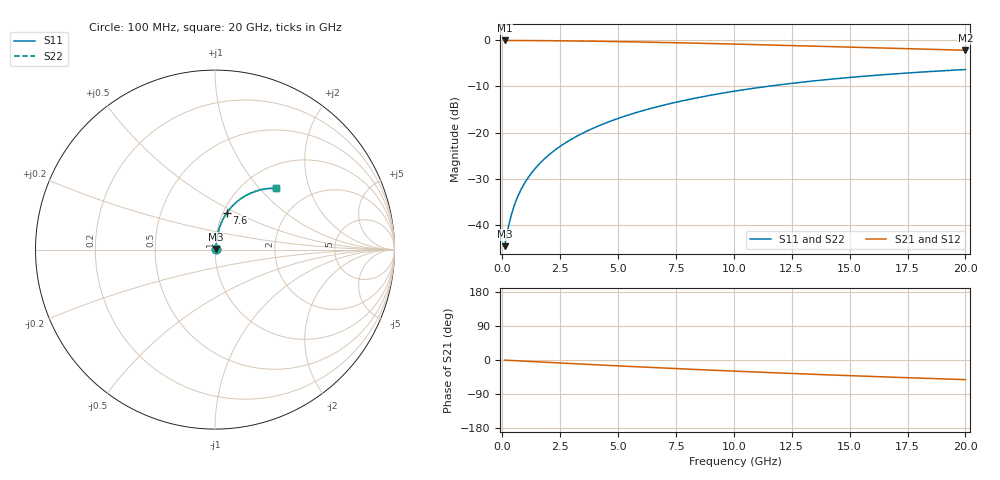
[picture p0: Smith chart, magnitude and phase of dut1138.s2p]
! Touchstone file exported from HFSS 2024.1.0
!  File:  C:/UserFiles/LocalFiles/RDL_TSV_Batchsim/temp_RDL_top_1138_1780047696.aedt
!  Generated:  05:44:01 PM May 29, 2026
!  Design:  RDL_top
!  Project:  temp_RDL_top_1138_1780047696
!  Setup:  Setup1
!  Solution:  Sweep
! Variables:
!  dtsv = 10.80580581um
!  hbump = 3um
!  htsv = 95.48um
!  ldown = 100um
!  lrdl = 696.41um
!  p = 40
!  p1 = 56.03um
!  rhole = 1um
!  t = 450um
!  tdown = 3.915915916um
!  trdl = 2.61um
!  wdown = 15.38538539um
!  wrdl = 19.51um
# GHz S MA R 50.000000
! Terminal data exported
! Port[1] = Box2_T1
! Port[2] = Box2_T2
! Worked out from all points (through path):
!   200 points, 100 MHz to 20 GHz, reference 50 ohm
!   highest |S21| = -0.04 dB at 100 MHz (marker M1); lowest = -2.2 dB at 20 GHz (marker M2)
!   group delay of S21, straight-line fit = 7.18 ps
!   lowest |S11| = -44.6 dB at 100 MHz (marker M3), VSWR 1.01, Z = 50.5 + j0.306 ohm
!   |S11| at or under -10 dB: start of sweep to 11.44 GHz
!   |S22| runs from -44.6 to -6.4 dB; largest |S21 - S12| = 8.2e-15
!   S11 on the Smith chart (normalised r, x): 100 MHz: 1.01, +0.01; 7.6 GHz: 1.04, +0.45; 20 GHz: 1.39, +1.24
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0.1  0.005873 31.0  0.995 -0.3  0.995 -0.3  0.005873 31.0
! Gamma 0 0 0 0
! Port Impedance 50 0 50 0
0.2  0.007936 49.3  0.9948 -0.7  0.9948 -0.7  0.007936 49.3
0.3  0.01043 59.0  0.9946 -1.0  0.9946 -1.0  0.01043 59.0
0.4  0.01307 64.6  0.9944 -1.3  0.9944 -1.3  0.01307 64.6
0.5  0.01575 68.2  0.9941 -1.6  0.9941 -1.6  0.01575 68.2
0.6  0.01844 70.8  0.9938 -2.0  0.9938 -2.0  0.01844 70.8
0.8  0.02384 74.1  0.9933 -2.6  0.9933 -2.6  0.02384 74.1
1.1  0.03201 77.0  0.9925 -3.5  0.9925 -3.5  0.03201 77.0
1.3  0.03749 78.1  0.9918 -4.2  0.9918 -4.2  0.03749 78.1
1.6  0.04578 79.2  0.9908 -5.1  0.9908 -5.1  0.04577 79.2
2.1  0.05971 80.0  0.9886 -6.7  0.9886 -6.7  0.0597 80.0
2.7  0.07658 80.2  0.9854 -8.5  0.9854 -8.5  0.07657 80.1
3.5  0.09927 79.6  0.9801 -11.0  0.9801 -11.0  0.09925 79.6
4.2  0.1193 78.7  0.9745 -13.1  0.9745 -13.1  0.1192 78.7
5  0.1422 77.4  0.9673 -15.5  0.9673 -15.5  0.1421 77.4
5.9  0.1679 75.7  0.9583 -18.1  0.9583 -18.1  0.1678 75.7
6.8  0.1934 73.9  0.9484 -20.7  0.9484 -20.7  0.1933 73.8
7.6  0.2158 72.1  0.9391 -22.9  0.9391 -22.9  0.2156 72.1
10.1  0.2827 66.4  0.9077 -29.6  0.9077 -29.6  0.2825 66.3
13.4  0.3616 58.8  0.8638 -37.7  0.8638 -37.7  0.3612 58.7
16.7  0.4278 51.7  0.8204 -45.0  0.8204 -45.0  0.4274 51.6
20  0.4818 45.2  0.7793 -51.8  0.7793 -51.8  0.4812 45.1
